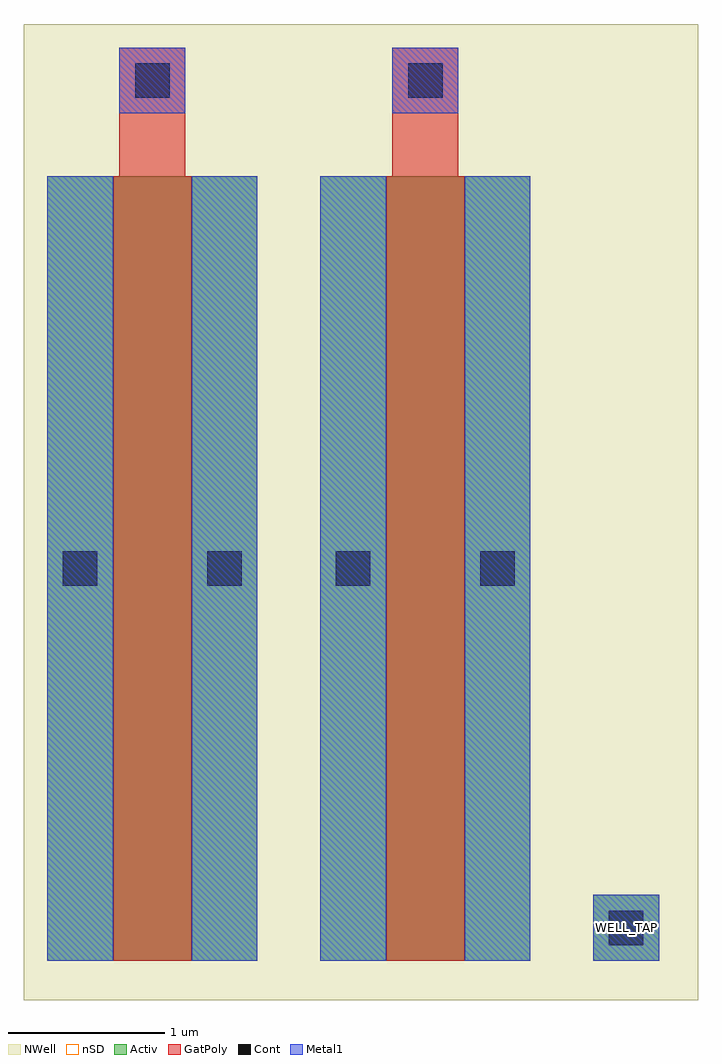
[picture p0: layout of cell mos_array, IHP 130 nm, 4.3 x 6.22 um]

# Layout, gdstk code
import gdstk
lib = gdstk.Library(unit=1e-6, precision=1e-09)
def R(c, l, rs):  # rectangles x0, y0, x1, y1
    for r in rs: c.add(gdstk.rectangle(r[:2], r[2:], *l))
Activ = (1, 0)
GatPoly = (5, 0)
Cont = (6, 0)
nSD = (7, 0)
Metal1 = (8, 0)
NWell = (31, 0)

mos_array = lib.new_cell('mos_array')
R(mos_array, Activ, [(0,0,1.34,5), (1.74,0,3.08,5), (3.48,0,3.9,0.42)])
R(mos_array, GatPoly, [(0.42,0,0.92,5), (2.16,0,2.66,5), (0.46,5,0.88,5.82), (2.2,5,2.62,5.82)])
R(mos_array, Cont, [(3.58,0.1,3.8,0.32), (0.1,2.39,0.32,2.61), (1.02,2.39,1.24,2.61), (1.84,2.39,2.06,2.61), (2.76,2.39,2.98,2.61), (0.56,5.5,0.78,5.72), (2.3,5.5,2.52,5.72)])
R(mos_array, nSD, [(3.48,0,3.9,0.42)])
R(mos_array, Metal1, [(0,0,0.42,5), (0.92,0,1.34,5), (1.74,0,2.16,5), (2.66,0,3.08,5), (3.48,0,3.9,0.42), (0.46,5.4,0.88,5.82), (2.2,5.4,2.62,5.82)])
R(mos_array, NWell, [(-0.15,-0.25,4.15,5.97)])
mos_array.add(gdstk.Label('WELL_TAP', (3.69,0.21), layer=8, texttype=2))

lib.write_gds('mos_array.gds')
